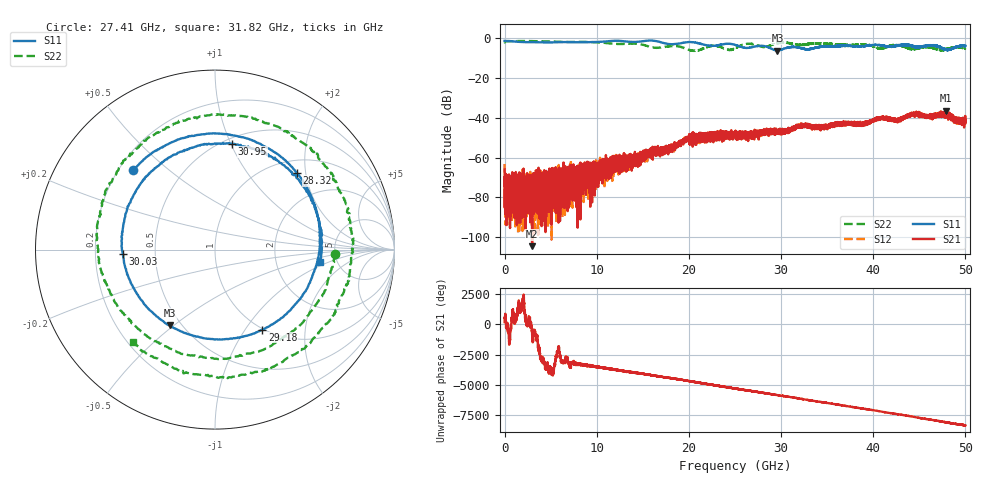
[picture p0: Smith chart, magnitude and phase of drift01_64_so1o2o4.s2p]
!Created with skrf (http://scikit-rf.org).
# Hz S RI R 50.0
!freq ReS11 ImS11 ReS21 ImS21 ReS12 ImS12 ReS22 ImS22
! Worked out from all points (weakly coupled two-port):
!   10001 points, 300 kHz to 50 GHz, reference 50 ohm
!   highest |S21| = -36.47 dB at 47.91 GHz (marker M1); lowest = -104.5 dB at 2.985 GHz (marker M2)
!   lowest |S11| = -6.2 dB at 29.61 GHz (marker M3), VSWR 2.94, Z = 21.7 - j24.2 ohm
!   |S11| at or under -10 dB: nowhere
!   |S22| runs from -6.4 to -1.4 dB; largest |S21 - S12| = 0.0038
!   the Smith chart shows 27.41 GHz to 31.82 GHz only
!   S11 on the Smith chart (normalised r, x): 27.41 GHz: 0.26, +0.38; 28.32 GHz: 1.27, +1.78; 29.18 GHz: 0.99, -1.20; 30.03 GHz: 0.32, -0.02; 30.95 GHz: 0.55, +1.01; 31.82 GHz: 3.70, -0.80
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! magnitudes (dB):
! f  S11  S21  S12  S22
! 300 kHz  -1.3  -66.0  -63.2  -2.0
! 325.3 MHz  -1.4  -75.1  -71.9  -1.4
! 2.985 GHz  -2.0  -104.5  -78.7  -1.4
! 6.445 GHz  -1.9  -77.1  -68.9  -1.9
! 8.335 GHz  -2.0  -74.9  -69.2  -1.8
! 16.67 GHz  -1.6  -56.1  -55.1  -4.8
! 18.62 GHz  -2.9  -53.9  -53.5  -3.9
! 20.4 GHz  -1.9  -52.3  -50.5  -6.3
! 22.62 GHz  -3.8  -48.8  -49.6  -3.8
! 25 GHz  -3.3  -49.4  -48.7  -5.0
! 27.41 GHz  -3.9  -48.4  -48.5  -3.5
! 28.32 GHz  -4.1  -48.5  -46.5  -4.4
! 29.18 GHz  -5.7  -47.5  -46.9  -3.0
! 29.61 GHz  -6.2  -46.4  -47.1  -2.6
! 30.03 GHz  -5.8  -47.4  -47.0  -2.3
! 30.95 GHz  -4.5  -46.7  -46.1  -2.5
! 31.82 GHz  -4.6  -44.2  -44.0  -3.3
! 33.34 GHz  -5.2  -44.1  -45.1  -2.7
! 41.67 GHz  -4.4  -40.9  -41.3  -3.9
! 46.48 GHz  -3.7  -40.4  -39.2  -4.7
! 47.91 GHz  -5.7  -36.5  -38.7  -5.4
! 50 GHz  -3.8  -41.8  -43.0  -5.3
